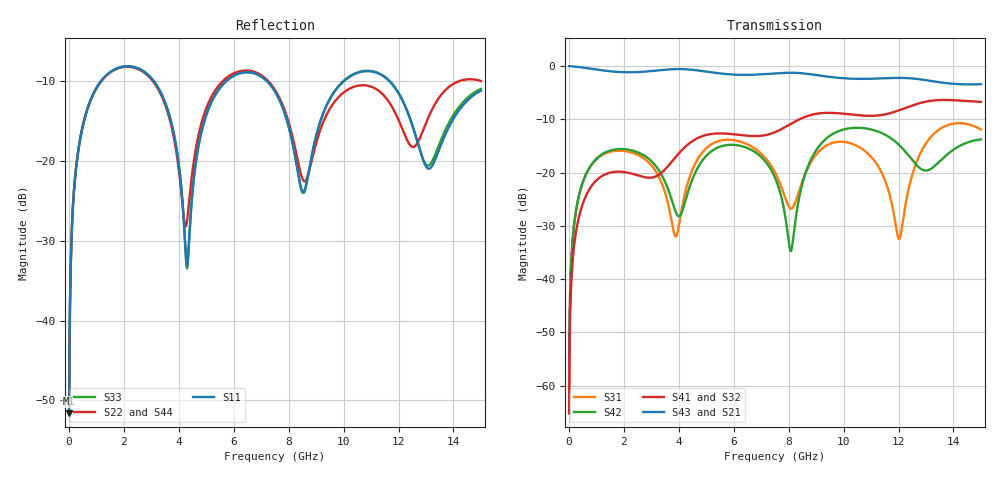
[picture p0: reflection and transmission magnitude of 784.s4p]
! Created with skrf 1.8.0 (http://scikit-rf.org).
# GHz S RI R 50.0
!freq ReS11 ImS11 ReS12 ImS12 ReS13 ImS13
! ReS14 ImS14
! ReS21 ImS21 ReS22 ImS22 ReS23 ImS23
! ReS24 ImS24
! ReS31 ImS31 ReS32 ImS32 ReS33 ImS33
! ReS34 ImS34
! ReS41 ImS41 ReS42 ImS42 ReS43 ImS43
! ReS44 ImS44
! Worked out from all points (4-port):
!   2499 points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, 5 MHz to 15 GHz, reference 50 ohm
!   strongest paths, dB at 5 MHz, 3.476 GHz, 7.19 GHz, 11.1 GHz, 15 GHz:
!     S43: 0.0, -0.7, -1.5, -2.4, -3.4
!     S21: 0.0, -0.7, -1.5, -2.4, -3.4
!     S41: -65.2, -19.5, -12.9, -9.3, -6.7
!     S32: -65.2, -19.6, -13.0, -9.4, -6.8
!     S42: -61.2, -21.5, -18.2, -12.0, -13.8
!     S31: -61.2, -23.4, -17.5, -17.6, -11.9
!   lowest |S11| = -51.6 dB at 5 MHz (marker M1), VSWR 1.01, Z = 50.2 + j0.159 ohm
!   |S11| at or under -10 dB: 3.081 GHz to 5.729 GHz (2.648 GHz wide, 60.1 % of centre); 7.205 GHz to 10.01 GHz (2.809 GHz wide, 32.6 % of centre); 11.67 GHz to end of sweep (the widest 3 of 4)
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0.005  0.00209 0.00158  0.9979 -0.00407  0.000108 0.000867  -0.000105 -0.000539
       0.9979 -0.00407  0.00209 0.00158  -0.000105 -0.000539  0.000108 0.000867
       0.000108 0.000867  -0.000105 -0.000539  0.00209 0.00158  0.9979 -0.00407
       -0.000105 -0.000539  0.000108 0.000867  0.9979 -0.00407  0.00209 0.00158
0.3126303  0.0365 0.1014  0.9499 -0.2502  0.0174 0.0499  -0.0148 -0.03
           0.9499 -0.2502  0.0363 0.1014  -0.0148 -0.03  0.0184 0.0495
           0.0174 0.0499  -0.0148 -0.03  0.0365 0.1014  0.9499 -0.2502
           -0.0148 -0.03  0.0184 0.0495  0.9499 -0.2502  0.0363 0.1014
1.3193  0.2963 0.1626  0.4911 -0.759  0.1375 0.0629  -0.0962 0.00399
        0.4911 -0.759  0.2931 0.1651  -0.0961 0.00381  0.1463 0.0489
        0.1375 0.0629  -0.0961 0.00381  0.2965 0.1626  0.4911 -0.759
        -0.0962 0.00399  0.1463 0.0489  0.4911 -0.759  0.2931 0.1652
4.214256  0.0218 -0.0253  -0.9279 -0.1124  0.0324 0.0529  -0.0158 0.1718
          -0.9279 -0.1124  0.0387 -0.0108  -0.0184 0.1716  -0.032 0.0406
          0.0324 0.0529  -0.0184 0.1716  0.0212 -0.0267  -0.9278 -0.1126
          -0.0158 0.1718  -0.032 0.0406  -0.9278 -0.1126  0.0399 -0.0122
8.566069  0.0642 0.00607  0.8395 0.1444  -0.0246 0.0888  0.0418 -0.3281
          0.8395 0.1444  0.0739 -0.0092  0.0514 -0.3267  0.0202 0.0884
          -0.0246 0.0888  0.0514 -0.3267  0.0634 0.00601  0.8398 0.1424
          0.0418 -0.3281  0.0202 0.0884  0.8398 0.1424  0.0743 -0.0112
11.34848  0.3286 -0.1132  -0.1242 -0.7557  0.0954 -0.0422  -0.3275 0.112
          -0.1242 -0.7557  0.2618 -0.0608  -0.3305 0.0968  0.0745 -0.2254
          0.0954 -0.0422  -0.3305 0.0968  0.3293 -0.1156  -0.129 -0.7549
          -0.3275 0.112  0.0745 -0.2254  -0.129 -0.7549  0.2593 -0.0583
15  0.2728 0.0346  -0.2751 0.6148  0.2408 -0.0792  0.4521 0.0897
    -0.2751 0.6148  0.3131 -0.0448  0.4406 0.1141  0.1713 -0.112
    0.2408 -0.0792  0.4406 0.1141  0.2815 0.0193  -0.2659 0.62
    0.4521 0.0897  0.1713 -0.112  -0.2659 0.62  0.3004 -0.0388
